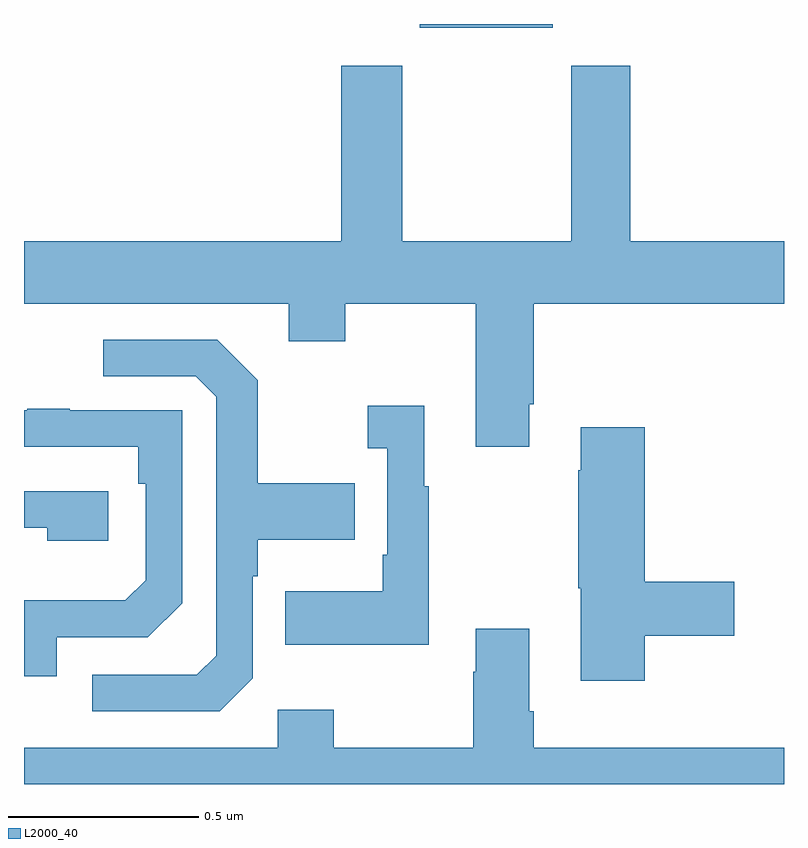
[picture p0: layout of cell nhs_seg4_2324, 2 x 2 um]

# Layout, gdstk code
import gdstk
lib = gdstk.Library(unit=1e-6, precision=1e-09)
def R(c, l, rs):  # rectangles x0, y0, x1, y1
    for r in rs: c.add(gdstk.rectangle(r[:2], r[2:], *l))
def P(c, l, *ps):  # polygons
    for p in ps: c.add(gdstk.Polygon(p, *l))
L2000_40 = (2000, 40)

nhs_seg4_2324 = lib.new_cell('nhs_seg4_2324')
R(nhs_seg4_2324, L2000_40, [(140.042,786.89,140.392,786.9)])
P(nhs_seg4_2324, L2000_40, [(139.845,786.164),(140.189,786.164),(140.189,785.787),(140.329,785.787),(140.329,785.899),(140.342,785.899),(140.342,786.164),(141,786.164),(141,786.328),(140.595,786.328),(140.595,786.79),(140.44,786.79),(140.44,786.328),(139.995,786.328),(139.995,786.79),(139.835,786.79),(139.835,786.328),(139,786.328),(139,786.164),(139.697,786.164),(139.697,786.065),(139.845,786.065)],
  [(139.602,785.178),(139.602,785.447),(139.615,785.447),(139.615,785.543),(139.871,785.543),(139.871,785.691),(139.615,785.691),(139.615,785.963),(139.509,786.069),(139.209,786.069),(139.209,785.973),(139.452,785.973),(139.506,785.919),(139.506,785.238),(139.455,785.187),(139.179,785.187),(139.179,785.091),(139.515,785.091)],
  [(140.065,785.683),(140.053,785.683),(140.053,785.896),(139.905,785.896),(139.905,785.783),(139.956,785.783),(139.956,785.503),(139.944,785.503),(139.944,785.407),(139.687,785.407),(139.687,785.267),(140.065,785.267)],
  [(139.086,785.286),(139.326,785.286),(139.416,785.376),(139.416,785.883),(139.121,785.883),(139.121,785.888),(139.009,785.888),(139.009,785.883),(139,785.883),(139,785.787),(139.3,785.787),(139.3,785.69),(139.32,785.69),(139.32,785.436),(139.267,785.383),(139,785.383),(139,785.184),(139.086,785.184)],
  [(140.633,785.29),(140.869,785.29),(140.869,785.432),(140.633,785.432),(140.633,785.839),(140.465,785.839),(140.465,785.726),(140.458,785.726),(140.458,785.415),(140.465,785.415),(140.465,785.172),(140.633,785.172)],
  [(139.222,785.67),(139,785.67),(139,785.574),(139.061,785.574),(139.061,785.54),(139.222,785.54)],
  [(141,784.996),(140.342,784.996),(140.342,785.092),(140.329,785.092),(140.329,785.308),(140.189,785.308),(140.189,785.195),(140.182,785.195),(140.182,784.996),(139.815,784.996),(139.815,785.095),(139.668,785.095),(139.668,784.996),(139,784.996),(139,784.9),(141,784.9)])

lib.write_gds('nhs_seg4_2324.gds')
